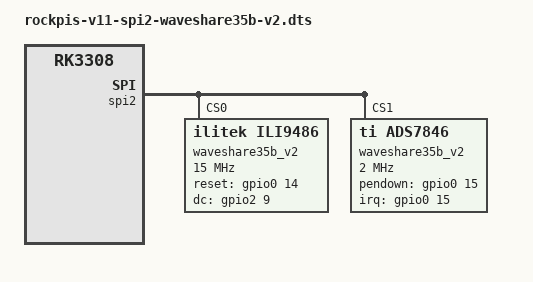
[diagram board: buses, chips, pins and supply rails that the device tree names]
/dts-v1/;
/plugin/;

/ {
	compatible = "radxa,rockpis-rk3308", "rockchip,rk3308";

	fragment@0 {
		target = <&gpio0>;
		__overlay__ {
			waveshare35b_v2_pins_1: waveshare35b_v2_pins_1 {
				rockchip,pins = <0 14 0 &pcfg_pull_none>,
								<0 15 0 &pcfg_pull_none>;
			};
		};
	};

	fragment@1 {
		target = <&gpio2>;
		__overlay__ {
			waveshare35b_v2_pins_2: waveshare35b_v2_pins_2 {
				rockchip,pins = <2 9 0 &pcfg_pull_none>;
			};
		};
	};

	fragment@2 {
		target = <&spi2>;
		__overlay__ {
			status = "okay";
			max-freq = <48000000>;
			#address-cells = <0x1>;
			#size-cells = <0x0>;
			waveshare35b_v2@0 {
				compatible = "ilitek,ili9486";
				status = "okay";
				reg = <0>;
				id = <0>;
				pinctrl-names = "default";
				pinctrl-0 = <&waveshare35b_v2_pins_1 &waveshare35b_v2_pins_2>;
				spi-max-frequency = <15000000>;
				txbuflen = <32768>;
				rotate = <270>;
				bgr = <0>;
				fps = <30>;
				buswidth = <8>;
				regwidth = <16>;
				reset-gpios = <&gpio0 14 0>;
				dc-gpios = <&gpio2 9 0>;
				debug = <0>;
				init = <0x10000b0 0x0
					0x1000011
					0x20000ff
					0x1000021
					0x100003a 0x55
					0x10000c2 0x33
					0x10000c5 0x0 0x1e 0x80
					0x1000036 0x28
					0x10000b1 0xb0
					0x10000e0 0x0 0x13 0x18 0x4 0xf 0x6 0x3a 0x56 0x4d 0x3 0xa 0x6 0x30 0x3e 0xf
					0x10000e1 0x0 0x13 0x18 0x1 0x11 0x6 0x38 0x34 0x4d 0x6 0xd 0xb 0x31 0x37 0xf
					0x1000011
					0x20000ff
					0x1000029>;
			};
			waveshare35b_v2@1 {
				compatible = "ti,ads7846";
				status = "okay";
				reg = <1>;
				id = <1>;
				spi-max-frequency = <2000000>;
				interrupts = <15 2>;
				interrupt-parent = <&gpio0>;
				pendown-gpio = <&gpio0 15 0>;
				ti,x-plate-ohms = /bits/ 16 <60>;/*[00 3c];*/
				ti,pressure-max = /bits/ 16 <255>;/*[00 ff];*/
				ti,swap-xy = <0>;
			};
		};
	};
};
